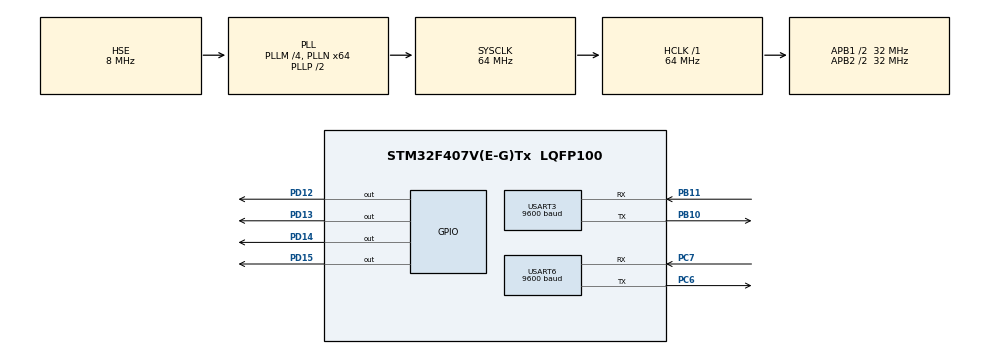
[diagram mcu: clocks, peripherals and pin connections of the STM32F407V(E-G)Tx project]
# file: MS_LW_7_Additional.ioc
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Mcu.Family=STM32F4
Mcu.Name=STM32F407V(E-G)Tx
Mcu.Package=LQFP100
NVIC.PriorityGroup=NVIC_PRIORITYGROUP_0
NVIC.TIM3_IRQn=true\:0\:0\:false\:false\:true\:true\:true\:true
NVIC.USART3_IRQn=true\:0\:0\:false\:false\:true\:true\:true\:true
NVIC.USART6_IRQn=true\:0\:0\:false\:false\:true\:true\:true\:true
PB10.Mode=Asynchronous
PB10.Signal=USART3_TX
PB11.Mode=Asynchronous
PB11.Signal=USART3_RX
PC6.Mode=Asynchronous
PC6.Signal=USART6_TX
PC7.Mode=Asynchronous
PC7.Signal=USART6_RX
PD12.Signal=GPIO_Output
PD13.Signal=GPIO_Output
PD14.Signal=GPIO_Output
PD15.Signal=GPIO_Output
PH0-OSC_IN.Mode=HSE-External-Oscillator
PH0-OSC_IN.Signal=RCC_OSC_IN
PH1-OSC_OUT.Mode=HSE-External-Oscillator
PH1-OSC_OUT.Signal=RCC_OSC_OUT
ProjectManager.HeapSize=0x200
ProjectManager.StackSize=0x400
ProjectManager.TargetToolchain=STM32CubeIDE
RCC.48MHZClocksFreq_Value=18285714.285714287
RCC.AHBFreq_Value=64000000
RCC.APB1CLKDivider=RCC_HCLK_DIV2
RCC.APB1Freq_Value=32000000
RCC.APB1TimFreq_Value=64000000
RCC.APB2CLKDivider=RCC_HCLK_DIV2
RCC.APB2Freq_Value=32000000
RCC.APB2TimFreq_Value=64000000
RCC.CortexFreq_Value=64000000
RCC.HCLKFreq_Value=64000000
RCC.HSE_VALUE=8000000
RCC.HSI_VALUE=16000000
RCC.LSE_VALUE=32768
RCC.PLLM=4
RCC.PLLN=64
RCC.PLLQ=7
RCC.PLLSourceVirtual=RCC_PLLSOURCE_HSE
RCC.SYSCLKFreq_VALUE=64000000
RCC.SYSCLKSource=RCC_SYSCLKSOURCE_PLLCLK
RCC.VCOOutputFreq_Value=128000000
TIM3.Period=4000
TIM3.Prescaler=16000-1
USART3.BaudRate=9600
USART3.VirtualMode=VM_ASYNC
USART6.BaudRate=9600
USART6.VirtualMode=VM_ASYNC
VP_TIM3_VS_ClockSourceINT.Mode=Internal
board=STM32F407G-DISC1

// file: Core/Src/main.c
/* USER CODE BEGIN Header */
/**
  ******************************************************************************
  * @file           : main.c
  * @brief          : Main program body
  ******************************************************************************
  * @attention
  *
  * Copyright (c) 2023 STMicroelectronics.
  * All rights reserved.
  *
  * This software is licensed under terms that can be found in the LICENSE file
  * in the root directory of this software component.
  * If no LICENSE file comes with this software, it is provided AS-IS.
  *
  ******************************************************************************
  */
/* USER CODE END Header */
#include "main.h"

TIM_HandleTypeDef htim3;

UART_HandleTypeDef huart3;
UART_HandleTypeDef huart6;

void SystemClock_Config(void);
static void MX_GPIO_Init(void);
static void MX_USART3_UART_Init(void);
static void MX_USART6_UART_Init(void);
static void MX_TIM3_Init(void);

/* USER CODE BEGIN 0 */
uint8_t UTx_Buffer[4] = {0x07, 0x03, 0x01, 0x00};
uint8_t URx_Buffer;
uint8_t temp = 0;
/* USER CODE END 0 */

int main(void)
{

  /* MCU Configuration--------------------------------------------------------*/

  /* Reset of all peripherals, Initializes the Flash interface and the Systick. */
  HAL_Init();

  /* Configure the system clock */
  SystemClock_Config();

  /* Initialize all configured peripherals */
  MX_GPIO_Init();
  MX_USART3_UART_Init();
  MX_USART6_UART_Init();
  MX_TIM3_Init();
  /* USER CODE BEGIN 2 */
  HAL_TIM_Base_Start_IT(&htim3);
  /* USER CODE END 2 */

  /* Infinite loop */
  while (1)
  {

  }
}

void SystemClock_Config(void)
{
  RCC_OscInitTypeDef RCC_OscInitStruct = {0};
  RCC_ClkInitTypeDef RCC_ClkInitStruct = {0};

  /** Configure the main internal regulator output voltage
  */
  __HAL_RCC_PWR_CLK_ENABLE();
  __HAL_PWR_VOLTAGESCALING_CONFIG(PWR_REGULATOR_VOLTAGE_SCALE1);

  /** Initializes the RCC Oscillators according to the specified parameters
  * in the RCC_OscInitTypeDef structure.
  */
  RCC_OscInitStruct.OscillatorType = RCC_OSCILLATORTYPE_HSE;
  RCC_OscInitStruct.HSEState = RCC_HSE_ON;
  RCC_OscInitStruct.PLL.PLLState = RCC_PLL_ON;
  RCC_OscInitStruct.PLL.PLLSource = RCC_PLLSOURCE_HSE;
  RCC_OscInitStruct.PLL.PLLM = 4;
  RCC_OscInitStruct.PLL.PLLN = 64;
  RCC_OscInitStruct.PLL.PLLP = RCC_PLLP_DIV2;
  RCC_OscInitStruct.PLL.PLLQ = 7;
  if (HAL_RCC_OscConfig(&RCC_OscInitStruct) != HAL_OK)
  {
    Error_Handler();
  }

  /** Initializes the CPU, AHB and APB buses clocks
  */
  RCC_ClkInitStruct.ClockType = RCC_CLOCKTYPE_HCLK|RCC_CLOCKTYPE_SYSCLK
                              |RCC_CLOCKTYPE_PCLK1|RCC_CLOCKTYPE_PCLK2;
  RCC_ClkInitStruct.SYSCLKSource = RCC_SYSCLKSOURCE_PLLCLK;
  RCC_ClkInitStruct.AHBCLKDivider = RCC_SYSCLK_DIV1;
  RCC_ClkInitStruct.APB1CLKDivider = RCC_HCLK_DIV2;
  RCC_ClkInitStruct.APB2CLKDivider = RCC_HCLK_DIV2;

  if (HAL_RCC_ClockConfig(&RCC_ClkInitStruct, FLASH_LATENCY_2) != HAL_OK)
  {
    Error_Handler();
  }
}

static void MX_TIM3_Init(void)
{

  TIM_ClockConfigTypeDef sClockSourceConfig = {0};
  TIM_MasterConfigTypeDef sMasterConfig = {0};

  htim3.Instance = TIM3;
  htim3.Init.Prescaler = 16000-1;
  htim3.Init.CounterMode = TIM_COUNTERMODE_UP;
  htim3.Init.Period = 4000;
  htim3.Init.ClockDivision = TIM_CLOCKDIVISION_DIV1;
  htim3.Init.AutoReloadPreload = TIM_AUTORELOAD_PRELOAD_DISABLE;
  if (HAL_TIM_Base_Init(&htim3) != HAL_OK)
  {
    Error_Handler();
  }
  sClockSourceConfig.ClockSource = TIM_CLOCKSOURCE_INTERNAL;
  if (HAL_TIM_ConfigClockSource(&htim3, &sClockSourceConfig) != HAL_OK)
  {
    Error_Handler();
  }
  sMasterConfig.MasterOutputTrigger = TIM_TRGO_RESET;
  sMasterConfig.MasterSlaveMode = TIM_MASTERSLAVEMODE_DISABLE;
  if (HAL_TIMEx_MasterConfigSynchronization(&htim3, &sMasterConfig) != HAL_OK)
  {
    Error_Handler();
  }

}

static void MX_USART3_UART_Init(void)
{

  huart3.Instance = USART3;
  huart3.Init.BaudRate = 9600;
  huart3.Init.WordLength = UART_WORDLENGTH_8B;
  huart3.Init.StopBits = UART_STOPBITS_1;
  huart3.Init.Parity = UART_PARITY_NONE;
  huart3.Init.Mode = UART_MODE_TX_RX;
  huart3.Init.HwFlowCtl = UART_HWCONTROL_NONE;
  huart3.Init.OverSampling = UART_OVERSAMPLING_16;
  if (HAL_UART_Init(&huart3) != HAL_OK)
  {
    Error_Handler();
  }

}

static void MX_USART6_UART_Init(void)
{

  huart6.Instance = USART6;
  huart6.Init.BaudRate = 9600;
  huart6.Init.WordLength = UART_WORDLENGTH_8B;
  huart6.Init.StopBits = UART_STOPBITS_1;
  huart6.Init.Parity = UART_PARITY_NONE;
  huart6.Init.Mode = UART_MODE_TX_RX;
  huart6.Init.HwFlowCtl = UART_HWCONTROL_NONE;
  huart6.Init.OverSampling = UART_OVERSAMPLING_16;
  if (HAL_UART_Init(&huart6) != HAL_OK)
  {
    Error_Handler();
  }

}

static void MX_GPIO_Init(void)
{
  GPIO_InitTypeDef GPIO_InitStruct = {0};

  /* GPIO Ports Clock Enable */
  __HAL_RCC_GPIOH_CLK_ENABLE();
  __HAL_RCC_GPIOB_CLK_ENABLE();
  __HAL_RCC_GPIOD_CLK_ENABLE();
  __HAL_RCC_GPIOC_CLK_ENABLE();

  /*Configure GPIO pin Output Level */
  HAL_GPIO_WritePin(GPIOD, GPIO_PIN_12|GPIO_PIN_13|GPIO_PIN_14|GPIO_PIN_15, GPIO_PIN_RESET);

  /*Configure GPIO pins : PD12 PD13 PD14 PD15 */
  GPIO_InitStruct.Pin = GPIO_PIN_12|GPIO_PIN_13|GPIO_PIN_14|GPIO_PIN_15;
  GPIO_InitStruct.Mode = GPIO_MODE_OUTPUT_PP;
  GPIO_InitStruct.Pull = GPIO_NOPULL;
  GPIO_InitStruct.Speed = GPIO_SPEED_FREQ_LOW;
  HAL_GPIO_Init(GPIOD, &GPIO_InitStruct);

}

/* USER CODE BEGIN 4 */

void HAL_TIM_PeriodElapsedCallback(TIM_HandleTypeDef *htim)
{
  /* USER CODE BEGIN Callback 0 */

  /* USER CODE END Callback 0 */
  if (htim->Instance == TIM3) {
	HAL_UART_Transmit_IT(&huart3, &UTx_Buffer[temp], 1);
	HAL_UART_Receive_IT(&huart6, &URx_Buffer, 1);
	temp += 1;
	if(temp == 4){
		temp = 0;
	}
  }
  /* USER CODE BEGIN Callback 1 */

  /* USER CODE END Callback 1 */
}

void HAL_UART_RxCpltCallback(UART_HandleTypeDef *huart)
{
  /* Prevent unused argument(s) compilation warning */
  UNUSED(huart);

  GPIOD->ODR &= 0x00000000;
  GPIOD->ODR |= (URx_Buffer << 12);

  /* NOTE: This function should not be modified, when the callback is needed,
           the HAL_UART_RxCpltCallback could be implemented in the user file
   */
}

/* USER CODE END 4 */

void Error_Handler(void)
{
  __disable_irq();
  while (1)
  {
  }
}
